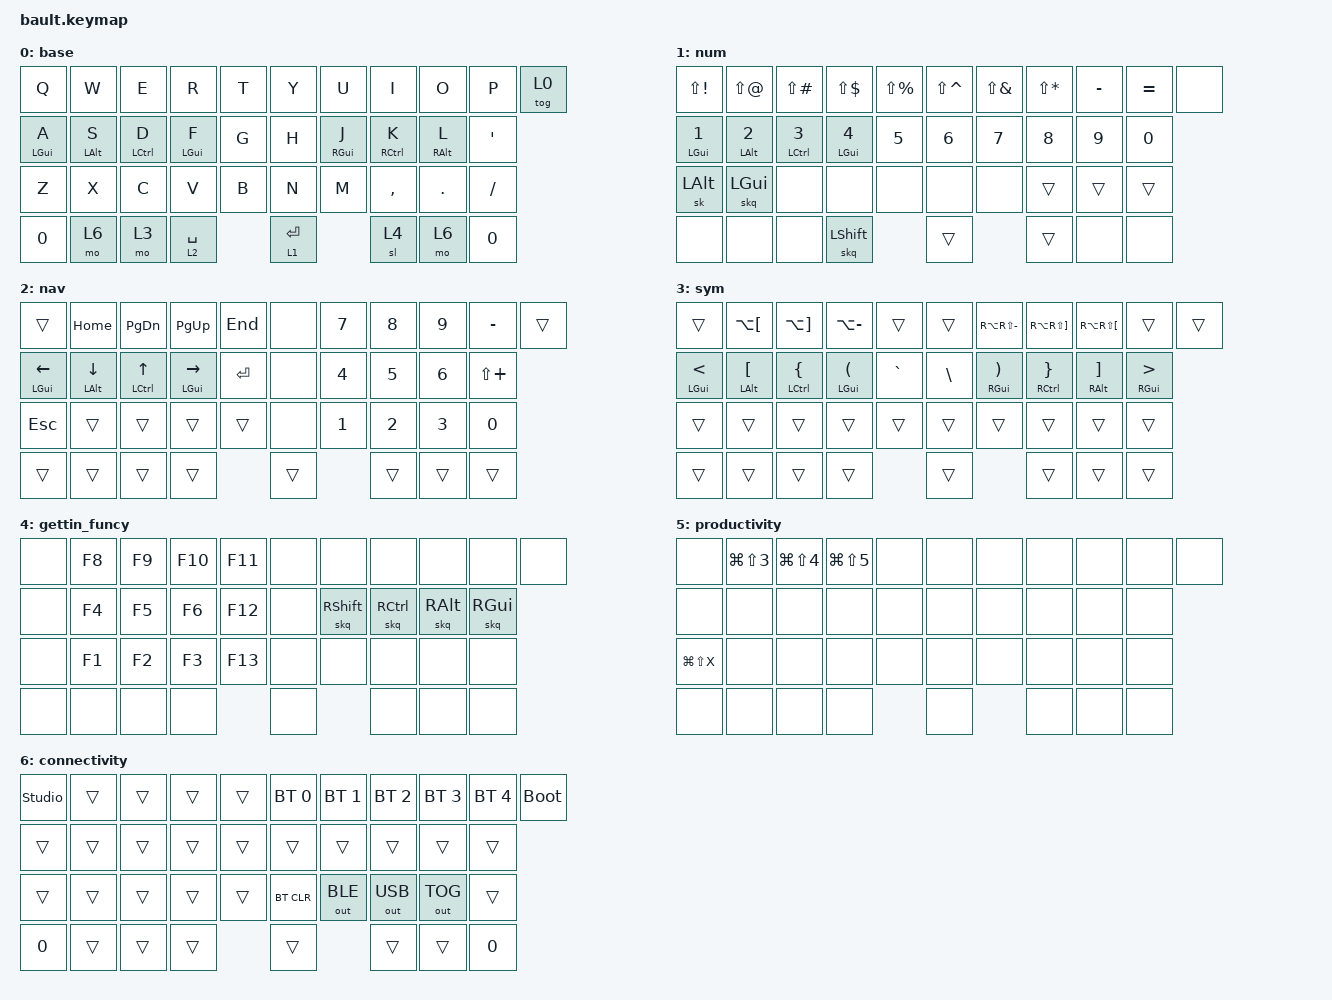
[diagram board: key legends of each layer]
#include <behaviors.dtsi>
#include <dt-bindings/zmk/bt.h>
#include <dt-bindings/zmk/keys.h>
#include <dt-bindings/zmk/outputs.h>

&lt { quick-tap-ms = <200>; };

/ {
    behaviors {
        hml: hml {
            compatible = "zmk,behavior-hold-tap";
            display-name = "Homerow Mods";
            bindings = <&kp>, <&kp>;

            #binding-cells = <2>;
            tapping-term-ms = <170>;
            require-prior-idle-ms = <125>;
            flavor = "balanced";
            hold-trigger-key-positions = <6 7 8 9 10 16 17 18 19 20 26 27 28 29 30 35 36 37 38 25 5>;
            quick-tap-ms = <175>;
            label = "hml";
            hold-trigger-on-release;
        };

        hmr: hmr {
            compatible = "zmk,behavior-hold-tap";
            display-name = "Homerow Mods";
            bindings = <&kp>, <&kp>;

            #binding-cells = <2>;
            tapping-term-ms = <200>;
            require-prior-idle-ms = <200>;
            flavor = "balanced";
            quick-tap-ms = <175>;
            label = "HMR";
            hold-trigger-key-positions = <0 1 2 3 4 11 12 13 14 15 21 22 23 24 31 32 33 34 25>;
        };

        skq: sticky_key_quick_release {
            compatible = "zmk,behavior-sticky-key";
            #binding-cells = <1>;
            bindings = <&kp>;
            release-after-ms = <1000>;
            quick-release;
            ignore-modifiers;
        };

        sblayer: sblayer {
            compatible = "zmk,behavior-hold-tap";
            label = "SBLAYER";
            bindings = <&mo>, <&kp>;

            #binding-cells = <2>;
            tapping-term-ms = <99999>;
            quick-tap-ms = <175>;
            retro-tap;
            flavor = "tap-unless-interrupted";
        };

        new_behavior: new_behavior {
            compatible = "zmk,behavior-hold-tap";
            display-name = "Homerow Mods";
            bindings = <&kp>, <&kp>;

            #binding-cells = <2>;
            tapping-term-ms = <200>;
            require-prior-idle-ms = <125>;
            flavor = "balanced";
            hold-trigger-key-positions = <6 7 8 9 10 16 17 18 19 20 26 27 28 29 30 35 36 37 38 25 5>;
            quick-tap-ms = <175>;
            label = "NEW_BEHAVIOR";
            hold-trigger-on-release;
        };
    };

    combos {
        compatible = "zmk,combos";

        lgui {
            bindings = <&skq LEFT_GUI>;
            key-positions = <11 14>;
            timeout-ms = <30>;
            require-prior-idle-ms = <20>;
        };

        semi {
            timeout-ms = <30>;
            bindings = <&kp SEMI>;
            key-positions = <12 14>;
        };

        colon {
            timeout-ms = <30>;
            bindings = <&kp COLON>;
            key-positions = <17 19>;
        };

        copy {
            bindings = <&kp LG(C)>;
            key-positions = <22 23>;
            timeout-ms = <40>;
            require-prior-idle-ms = <20>;
            layers = <0 2>;
        };

        cut {
            bindings = <&kp LG(X)>;
            key-positions = <22 24>;
            timeout-ms = <40>;
            require-prior-idle-ms = <20>;
            layers = <0 2>;
        };

        paste {
            bindings = <&kp LG(V)>;
            key-positions = <>;
            timeout-ms = <40>;
            require-prior-idle-ms = <20>;
            layers = <0 2>;
        };

        undo {
            bindings = <&kp LG(Z)>;
            key-positions = <>;
            timeout-ms = <40>;
            require-prior-idle-ms = <20>;
            layers = <0 2>;
        };

        connectivity {
            bindings = <&mo 6>;
            key-positions = <33 36>;
        };

        redo {
            bindings = <&kp LG(LS(Z))>;
            key-positions = <3 2>;
            timeout-ms = <50>;
            require-prior-idle-ms = <20>;
            layers = <0 2>;
        };

        lshift {
            bindings = <&skq LSHFT>;
            key-positions = <13 12>;
            require-prior-idle-ms = <20>;
            timeout-ms = <25>;
        };

        rshift {
            bindings = <&skq RSHFT>;
            key-positions = <19 18>;
            timeout-ms = <25>;
            require-prior-idle-ms = <20>;
        };

        esc {
            timeout-ms = <40>;
            bindings = <&kp ESC>;
            key-positions = <1 2>;
            require-prior-idle-ms = <30>;
        };

        backspace {
            bindings = <&kp BACKSPACE>;
            key-positions = <17 18>;
            require-prior-idle-ms = <30>;
        };

        enter {
            bindings = <&kp ENTER>;
            key-positions = <14 13>;
        };

        productivity {
            bindings = <&sl 5>;
            key-positions = <3 34>;
            timeout-ms = <40>;
            require-prior-idle-ms = <60>;
            layers = <0>;
        };

        capsword {
            bindings = <&caps_word>;
            key-positions = <14 17>;
            timeout-ms = <35>;
            require-prior-idle-ms = <40>;
        };

        capslock {
            bindings = <&kp CAPS>;
            key-positions = <13 18 12 19>;
            timeout-ms = <35>;
            require-prior-idle-ms = <20>;
        };

        grave {
            bindings = <&kp GRAVE>;
            key-positions = <9 8>;
            timeout-ms = <30>;
            require-prior-idle-ms = <20>;
        };

        tilde {
            bindings = <&kp LS(GRAVE)>;
            key-positions = <9 7>;
            timeout-ms = <25>;
            require-prior-idle-ms = <20>;
        };

        backslash {
            bindings = <&kp BACKSLASH>;
            key-positions = <1 0>;
            timeout-ms = <30>;
            require-prior-idle-ms = <20>;
        };

        pipe {
            bindings = <&kp LS(BACKSLASH)>;
            key-positions = <0 2>;
            timeout-ms = <30>;
            require-prior-idle-ms = <20>;
        };

        tab {
            bindings = <&kp TAB>;
            key-positions = <2 3>;
            timeout-ms = <40>;
            require-prior-idle-ms = <20>;
            layers = <0 2>;
        };
    };

    macros {
        sappy: sappy {
            compatible = "zmk,behavior-macro";
            #binding-cells = <0>;
            bindings = <&none &kp S &kp A &kp P &kp P &kp Y>;
            label = "SAPPY";
        };
    };

    keymap {
        compatible = "zmk,keymap";

        base {
            bindings = <
&kp Q            &kp W            &kp E                &kp R            &kp T  &kp Y             &kp U             &kp I         &kp O        &kp P      &tog 0
&hml LEFT_GUI A  &hml LEFT_ALT S  &hml LEFT_CONTROL D  &hml LEFT_GUI F  &kp G  &kp H             &hmr RIGHT_GUI J  &hmr RCTRL K  &hmr RALT L  &kp SQT
&kp Z            &kp X            &kp C                &kp V            &kp B  &kp N             &kp M             &kp COMMA     &kp PERIOD   &kp SLASH
&kp N0           &mo 6            &mo 3                &lt 2 SPACE             &sblayer 1 ENTER                    &sl 4         &mo 6        &kp N0
            >;
        };

        num {
            bindings = <
&kp LS(EXCL)            &kp LS(AT)          &kp LS(POUND)  &kp LS(DLLR)        &kp LS(PRCNT)  &kp LS(CARET)  &kp LS(AMPS)  &kp LS(STAR)  &kp MINUS  &kp EQUAL  &none
&hml LEFT_GUI NUMBER_1  &hml LALT NUMBER_2  &hml LCTRL N3  &hml LGUI NUMBER_4  &kp N5         &kp N6         &kp N7        &kp N8        &kp N9     &kp N0
&sk LEFT_ALT            &skq LEFT_GUI       &none          &none               &none          &none          &none         &trans        &trans     &trans
&none                   &none               &none          &skq LEFT_SHIFT                    &trans                       &trans        &none      &none
            >;
        };

        nav {
            bindings = <
&trans          &kp HOME        &kp PAGE_DOWN  &kp PG_UP        &kp END    &none   &kp N7  &kp N8  &kp N9  &kp MINUS     &trans
&hml LGUI LEFT  &hml LALT DOWN  &hml LCTRL UP  &hml LGUI RIGHT  &kp ENTER  &none   &kp N4  &kp N5  &kp N6  &kp LS(PLUS)
&kp ESCAPE      &trans          &trans         &trans           &trans     &none   &kp N1  &kp N2  &kp N3  &kp N0
&trans          &trans          &trans         &trans                      &trans          &trans  &trans  &trans
            >;
        };

        sym {
            bindings = <
&trans        &kp LA(LBKT)    &kp LA(RBKT)     &kp LA(MINUS)   &trans     &trans    &kp RA(RS(MINUS))  &kp RA(RS(RBKT))  &kp RA(RS(LBKT))  &trans        &trans
&hml LGUI LT  &hml LALT LBKT  &hml LCTRL LBRC  &hml LGUI LPAR  &kp GRAVE  &kp BSLH  &hmr RGUI RPAR     &hmr RCTRL RBRC   &hmr RALT RBKT    &hmr RGUI GT
&trans        &trans          &trans           &trans          &trans     &trans    &trans             &trans            &trans            &trans
&trans        &trans          &trans           &trans                     &trans                       &trans            &trans            &trans
            >;
        };

        gettin_funcy {
            bindings = <
&none  &kp F8  &kp F9  &kp F10  &kp F11  &none  &none       &none       &none      &none      &none
&none  &kp F4  &kp F5  &kp F6   &kp F12  &none  &skq RSHFT  &skq RCTRL  &skq RALT  &skq RGUI
&none  &kp F1  &kp F2  &kp F3   &kp F13  &none  &none       &none       &none      &none
&none  &none   &none   &none             &none              &none       &none      &none
            >;
        };

        productivity {
            bindings = <
&none          &kp LG(LS(N3))  &kp LG(LS(N4))  &kp LG(LS(N5))  &none  &none  &none  &none  &none  &none  &none
&none          &none           &none           &none           &none  &none  &none  &none  &none  &none
&kp LG(LS(X))  &none           &none           &none           &none  &none  &none  &none  &none  &none
&none          &none           &none           &none                  &none         &none  &none  &none
            >;
        };

        connectivity {
            bindings = <
&studio_unlock  &trans  &trans  &trans  &trans  &bt BT_SEL 0  &bt BT_SEL 1  &bt BT_SEL 2  &bt BT_SEL 3  &bt BT_SEL 4  &bootloader
&trans          &trans  &trans  &trans  &trans  &trans        &trans        &trans        &trans        &trans
&trans          &trans  &trans  &trans  &trans  &bt BT_CLR    &out OUT_BLE  &out OUT_USB  &out OUT_TOG  &trans
&kp N0          &trans  &trans  &trans          &trans                      &trans        &trans        &kp N0
            >;
        };
    };
};
